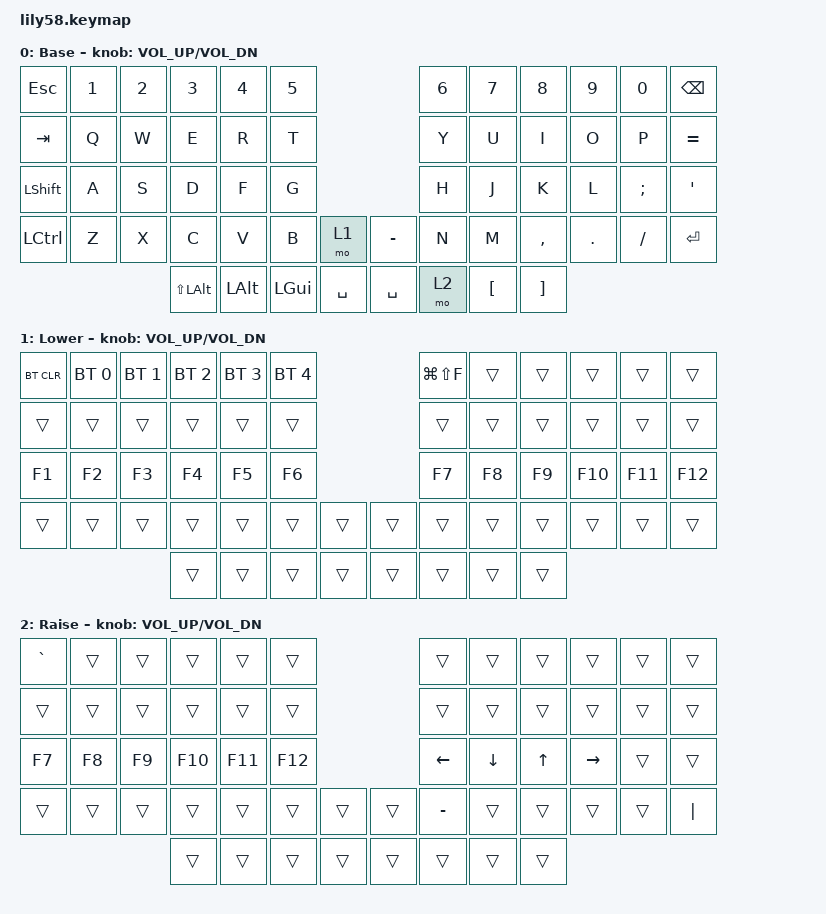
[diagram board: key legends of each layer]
/*
 * Copyright (c) 2020 The ZMK Contributors
 *
 * SPDX-License-Identifier: MIT
 */

#include <behaviors.dtsi>
#include <dt-bindings/zmk/bt.h>
#include <dt-bindings/zmk/keys.h>

/ {
    keymap {
        compatible = "zmk,keymap";

        default_layer {
            // ------------------------------------------------------------------------------------------------------------
            // |  ESC  |  1  |  2  |  3   |  4   |  5   |                   |  6   |  7    |  8    |  9   |   0   |   `   |
            // |  TAB  |  Q  |  W  |  E   |  R   |  T   |                   |  Y   |  U    |  I    |  O   |   P   |   -   |
            // |  CTRL |  A  |  S  |  D   |  F   |  G   |                   |  H   |  J    |  K    |  L   |   ;   |   '   |
            // | SHIFT |  Z  |  X  |  C   |  V   |  B   |   "["  |  |  "]"  |  N   |  M    |  ,    |  .   |   /   | SHIFT |
            //                     | ALT  | GUI  | LOWER|  SPACE |  | ENTER | RAISE| BSPC  | GUI   |

            display-name = "Base";
            bindings = <
&kp ESC         &kp N1  &kp N2  &kp N3            &kp N4        &kp N5                                &kp N6  &kp N7            &kp N8             &kp N9   &kp N0    &kp BACKSPACE
&kp TAB         &kp Q   &kp W   &kp E             &kp R         &kp T                                 &kp Y   &kp U             &kp I              &kp O    &kp P     &kp EQUAL
&kp LEFT_SHIFT  &kp A   &kp S   &kp D             &kp F         &kp G                                 &kp H   &kp J             &kp K              &kp L    &kp SEMI  &kp SQT
&kp LCTRL       &kp Z   &kp X   &kp C             &kp V         &kp B         &mo 1        &kp MINUS  &kp N   &kp M             &kp COMMA          &kp DOT  &kp FSLH  &kp RETURN
                                &kp LS(LEFT_ALT)  &kp LEFT_ALT  &kp LEFT_GUI  &kp SPACE    &kp SPACE  &mo 2   &kp LEFT_BRACKET  &kp RIGHT_BRACKET
            >;

            sensor-bindings = <&inc_dec_kp C_VOL_UP C_VOL_DN>;
        };

        lower_layer {
            // ------------------------------------------------------------------------------------------------------------
            // | BTCLR | BT1 | BT2 |  BT3 |  BT4 |  BT5 |                   |      |       |       |      |       |       |
            // |  F1   |  F2 |  F3 |  F4  |  F5  |  F6  |                   |  F7  |  F8   |  F9   |  F10 |  F11  |  F12  |
            // |   `   |  !  |  @  |  #   |  $   |  %   |                   |  ^   |  &    |  *    |  (   |   )   |   ~   |
            // |       |     |     |      |      |      |        |  |       |      |  _    |  +    |  {   |   }   |  "|"  |
            //                     |      |      |      |        |  |       |      |       |       |

            display-name = "Lower";
            bindings = <
&bt BT_CLR  &bt BT_SEL 0  &bt BT_SEL 1  &bt BT_SEL 2  &bt BT_SEL 3  &bt BT_SEL 4                    &kp LG(LS(F))  &trans  &trans  &trans   &trans   &trans
&trans      &trans        &trans        &trans        &trans        &trans                          &trans         &trans  &trans  &trans   &trans   &trans
&kp F1      &kp F2        &kp F3        &kp F4        &kp F5        &kp F6                          &kp F7         &kp F8  &kp F9  &kp F10  &kp F11  &kp F12
&trans      &trans        &trans        &trans        &trans        &trans        &trans    &trans  &trans         &trans  &trans  &trans   &trans   &trans
                                        &trans        &trans        &trans        &trans    &trans  &trans         &trans  &trans
            >;

            sensor-bindings = <&inc_dec_kp C_VOL_UP C_VOL_DN>;
        };

        raise_layer {
            // ------------------------------------------------------------------------------------------------------------
            // |       |     |     |      |      |      |                   |      |       |       |      |       |       |
            // |   `   |  1  |  2  |  3   |  4   |  5   |                   |  6   |   7   |   8   |  9   |   0   |       |
            // |   F1  |  F2 |  F3 |  F4  |  F5  |  F6  |                   |      |   <-  |   v   |  ^   |  ->   |       |
            // |   F7  |  F8 |  F9 |  F10 |  F11 |  F12 |        |  |       |  +   |   -   |   =   |  [   |   ]   |   \   |
            //                     |      |      |      |        |  |       |      |       |       |

            display-name = "Raise";
            bindings = <
&kp GRAVE  &trans  &trans  &trans   &trans   &trans                     &trans          &trans          &trans        &trans     &trans  &trans
&trans     &trans  &trans  &trans   &trans   &trans                     &trans          &trans          &trans        &trans     &trans  &trans
&kp F7     &kp F8  &kp F9  &kp F10  &kp F11  &kp F12                    &kp LEFT_ARROW  &kp DOWN_ARROW  &kp UP_ARROW  &kp RIGHT  &trans  &trans
&trans     &trans  &trans  &trans   &trans   &trans   &trans    &trans  &kp MINUS       &trans          &trans        &trans     &trans  &kp PIPE
                           &trans   &trans   &trans   &trans    &trans  &trans          &trans          &trans
            >;

            sensor-bindings = <&inc_dec_kp C_VOL_UP C_VOL_DN>;
        };
    };
};
